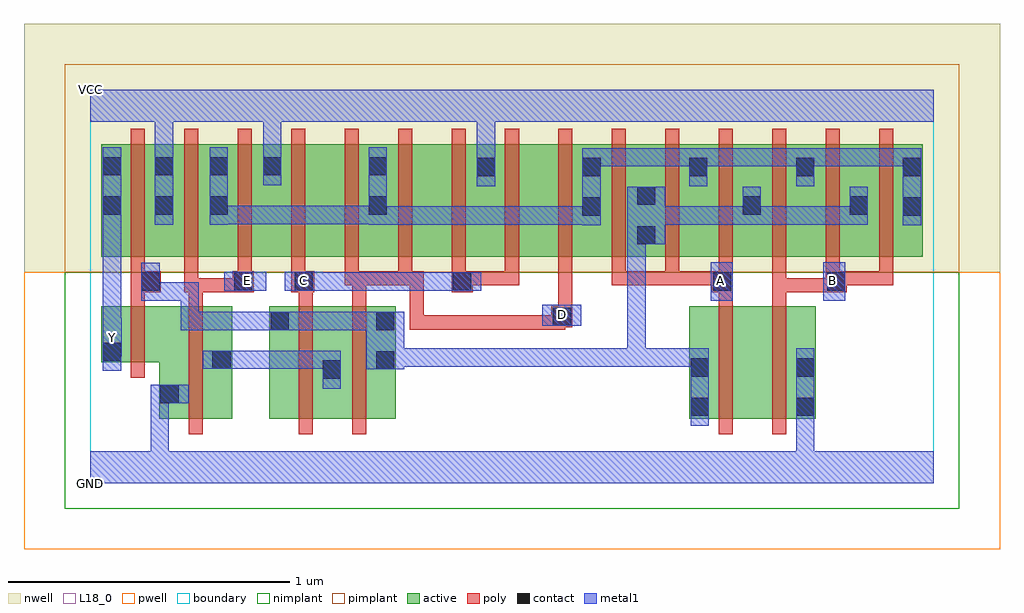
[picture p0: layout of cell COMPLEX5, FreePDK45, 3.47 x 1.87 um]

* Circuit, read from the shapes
.subckt COMPLEX5 A B C D E GND VCC Y
M1 GND n1 Y VSUBS nfet w=0.2u l=0.05u
M2 n2 E GND VSUBS nfet w=0.4u l=0.05u
M3 n2 C n1 VSUBS nfet w=0.4u l=0.05u
M4 n1 D n2 VSUBS nfet w=0.4u l=0.05u
M5 n3 A n1 VSUBS nfet w=0.4u l=0.05u
M6 GND B n3 VSUBS nfet w=0.4u l=0.05u
M7 VCC n1 Y n4 pfet w=0.4u l=0.05u
M8 n5 E VCC n4 pfet w=0.4u l=0.05u m=2
M9 n6 C VCC n4 pfet w=0.4u l=0.05u
M10 n5 D n6 n4 pfet w=0.4u l=0.05u
M11 n7 D n5 n4 pfet w=0.4u l=0.05u
M12 VCC C n7 n4 pfet w=0.4u l=0.05u
M13 n8 C VCC n4 pfet w=0.4u l=0.05u
M14 n5 D n8 n4 pfet w=0.4u l=0.05u
M15 n1 A n5 n4 pfet w=0.4u l=0.05u m=3
M16 n5 B n1 n4 pfet w=0.4u l=0.05u m=3
.ends

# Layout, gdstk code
import gdstk
lib = gdstk.Library(unit=1e-6, precision=1e-09)
def R(c, l, rs):  # rectangles x0, y0, x1, y1
    for r in rs: c.add(gdstk.rectangle(r[:2], r[2:], *l))
def A(c, l, x, y, w, h, nx, ny, dx, dy):  # array of equal rectangles
    R(c, l, [(x+i*dx, y+j*dy, x+i*dx+w, y+j*dy+h) for i in range(nx) for j in range(ny)])
active = (1, 0)
pwell = (2, 0)
nwell = (3, 0)
nimplant = (4, 0)
pimplant = (5, 0)
poly = (9, 0)
contact = (10, 0)
metal1 = (11, 0)
L18_0 = (18, 0)
boundary = (235, 0)

complex5 = lib.new_cell('COMPLEX5')
A(complex5, active, 1.745, 0.805, 0.075, 0.395, 4, 1, 0.38, 0)
A(complex5, active, 2.125, 0.805, 0.265, 0.4, 4, 1, 0.19, 0)
R(complex5, active, [(0.245,0.23,0.32,0.63), (0.245,0.23,0.505,0.63), (0.43,0.23,0.505,0.63), (0.637,0.23,0.897,0.63), (0.822,0.23,1.087,0.63), (2.13,0.23,2.205,0.63), (2.13,0.23,2.355,0.63), (2.355,0.23,2.58,0.63), (2.505,0.23,2.58,0.63), (0.637,0.295,0.712,0.63), (0.822,0.295,0.897,0.597), (1.012,0.295,1.087,0.63), (0.04,0.43,0.32,0.63), (0.04,0.43,0.115,0.63), (0.04,0.805,0.3,1.205), (0.04,0.805,0.115,1.2), (0.225,0.805,0.3,1.205), (0.225,0.805,0.495,1.205), (0.42,0.805,0.685,1.205), (0.42,0.805,0.495,1.2), (0.61,0.805,0.685,1.205), (0.61,0.805,0.835,1.205), (0.835,0.805,1.06,1.205), (0.985,0.805,1.06,1.2), (0.985,0.805,1.215,1.205), (1.215,0.805,1.445,1.205), (1.37,0.805,1.445,1.205), (1.37,0.805,1.595,1.205), (1.595,0.805,1.82,1.205), (1.745,0.805,2.015,1.205), (1.94,0.805,2.2,1.205), (1.94,0.805,2.015,1.07), (2.315,0.805,2.39,1.07), (2.695,0.805,2.77,1.07)])
R(complex5, pwell, [(-0.235,-0.235,3.235,0.75)])
R(complex5, nwell, [(-0.235,0.75,3.235,1.635)])
R(complex5, nimplant, [(-0.09,-0.09,3.09,0.75)])
R(complex5, pimplant, [(-0.09,0.75,3.09,1.49)])
A(complex5, poly, 0.525, 0.705, 0.05, 0.095, 6, 1, 0.19, 0)
A(complex5, poly, 1.855, 0.705, 0.05, 0.095, 3, 1, 0.19, 0)
A(complex5, poly, 0.145, 0.75, 0.05, 0.51, 15, 1, 0.19, 0)
R(complex5, poly, [(0.35,0.175,0.4,0.685), (0.742,0.175,0.792,0.685), (0.932,0.175,0.982,0.685), (2.235,0.175,2.285,0.685), (2.425,0.175,2.475,0.685), (0.145,0.375,0.195,0.685), (1.137,0.547,1.187,0.597), (1.137,0.547,1.187,0.597), (1.137,0.547,1.187,0.597), (1.137,0.547,1.392,0.597), (1.137,0.547,1.187,0.755), (1.342,0.547,1.557,0.597), (1.342,0.547,1.392,0.597), (1.342,0.547,1.392,0.597), (1.342,0.547,1.392,0.597), (1.507,0.547,1.557,0.597), (1.507,0.547,1.69,0.597), (1.64,0.547,1.69,0.597), (1.64,0.547,1.69,0.597), (1.64,0.547,1.69,0.597), (1.64,0.547,1.69,0.597), (1.64,0.547,1.69,0.605), (1.64,0.555,1.69,0.605), (1.64,0.555,1.715,0.63), (1.665,0.58,1.715,0.8), (0.145,0.635,0.195,0.73), (0.35,0.635,0.4,0.73), (0.742,0.635,0.792,0.73), (0.932,0.635,0.982,0.755), (2.235,0.635,2.285,0.73), (2.425,0.635,2.475,0.73), (0.145,0.68,0.252,0.755), (0.335,0.68,0.385,0.8), (0.335,0.68,0.4,0.73), (0.35,0.68,0.4,0.73), (0.35,0.68,0.4,0.73), (0.35,0.68,0.557,0.73), (0.507,0.68,0.582,0.755), (0.715,0.68,0.797,0.755), (1.285,0.68,1.36,0.755), (2.21,0.68,2.285,0.755), (2.425,0.68,2.475,0.73), (2.425,0.68,2.475,0.73), (2.425,0.68,2.475,0.73), (2.425,0.68,2.665,0.73), (2.425,0.68,2.475,0.8), (2.615,0.68,2.69,0.755), (0.145,0.705,0.195,0.8), (0.905,0.705,0.982,0.755), (0.932,0.705,0.982,0.755), (0.932,0.705,0.982,0.755), (0.932,0.705,1.145,0.755), (1.095,0.705,1.145,0.755), (1.095,0.705,1.145,0.755), (1.095,0.705,1.187,0.755), (1.31,0.705,1.525,0.755), (1.31,0.705,1.36,0.755), (1.31,0.705,1.36,0.755), (1.475,0.705,1.525,0.755), (1.855,0.705,1.905,0.755), (1.855,0.705,1.905,0.755), (1.855,0.705,1.905,0.755), (1.855,0.705,2.095,0.755), (2.045,0.705,2.26,0.755), (2.045,0.705,2.095,0.755), (2.045,0.705,2.095,0.755), (2.045,0.705,2.095,0.755), (2.615,0.705,2.665,0.8), (2.64,0.705,2.855,0.755), (2.64,0.705,2.69,0.755), (2.64,0.705,2.69,0.755), (2.805,0.705,2.855,0.8), (2.805,0.705,2.855,0.755)])
A(complex5, contact, 1.75, 1.092, 0.065, 0.065, 4, 1, 0.38, 0)
R(complex5, contact, [(2.135,0.24,2.2,0.305), (2.51,0.24,2.575,0.305), (0.25,0.285,0.315,0.35), (0.827,0.372,0.892,0.437), (2.135,0.38,2.2,0.445), (2.51,0.38,2.575,0.445), (1.017,0.405,1.082,0.47), (0.435,0.407,0.5,0.472), (0.045,0.435,0.11,0.5), (0.642,0.545,0.707,0.61), (1.017,0.545,1.082,0.61), (1.645,0.56,1.71,0.625), (0.182,0.685,0.247,0.75), (0.512,0.685,0.577,0.75), (0.727,0.685,0.792,0.75), (1.29,0.685,1.355,0.75), (2.215,0.685,2.28,0.75), (2.62,0.685,2.685,0.75), (1.945,0.85,2.01,0.915), (1.75,0.952,1.815,1.017), (2.89,0.952,2.955,1.017), (0.045,0.955,0.11,1.02), (0.23,0.955,0.295,1.02), (0.425,0.955,0.49,1.02), (0.99,0.955,1.055,1.02), (2.32,0.955,2.385,1.02), (2.7,0.955,2.765,1.02), (1.945,0.99,2.01,1.055), (1.375,1.092,1.44,1.157), (0.045,1.095,0.11,1.16), (0.23,1.095,0.295,1.16), (0.425,1.095,0.49,1.16), (0.615,1.095,0.68,1.16), (0.99,1.095,1.055,1.16)])
R(complex5, metal1, [(0,0,3,0.115), (0.215,0.05,0.28,0.115), (0.215,0.05,0.28,0.115), (0.215,0.05,0.28,0.35), (2.51,0.05,2.575,0.115), (2.51,0.05,2.575,0.115), (2.51,0.05,2.575,0.27), (2.135,0.205,2.2,0.48), (2.51,0.205,2.575,0.48), (0.215,0.285,0.35,0.35), (0.827,0.337,0.892,0.472), (0.045,0.4,0.11,0.535), (0.982,0.405,1.117,0.61), (0.4,0.407,0.535,0.472), (0.47,0.407,0.535,0.472), (0.47,0.407,0.535,0.472), (0.47,0.407,0.742,0.472), (0.677,0.407,0.742,0.472), (0.677,0.407,0.742,0.472), (0.677,0.407,0.742,0.472), (0.677,0.407,0.892,0.472), (1.052,0.415,1.165,0.48), (1.1,0.415,1.165,0.48), (1.1,0.415,1.302,0.48), (1.237,0.415,1.302,0.48), (1.237,0.415,1.302,0.48), (1.237,0.415,1.302,0.48), (1.237,0.415,1.44,0.48), (1.375,0.415,1.44,0.48), (1.375,0.415,1.44,0.48), (1.375,0.415,1.44,0.48), (1.375,0.415,1.577,0.48), (1.512,0.415,1.577,0.48), (1.512,0.415,1.577,0.48), (1.512,0.415,1.577,0.48), (1.512,0.415,1.715,0.48), (1.65,0.415,1.715,0.48), (1.65,0.415,1.715,0.48), (1.65,0.415,1.715,0.48), (1.65,0.415,1.975,0.48), (1.91,0.415,1.975,0.48), (1.91,0.415,1.975,0.48), (1.91,0.415,1.975,0.48), (1.91,0.415,1.975,0.48), (1.91,0.415,1.975,0.48), (1.91,0.415,2.2,0.48), (1.91,0.415,1.975,0.915), (0.045,0.452,0.112,0.587), (0.045,0.47,0.11,0.535), (0.045,0.522,0.11,0.985), (0.322,0.545,0.387,0.61), (0.322,0.545,0.525,0.61), (0.322,0.545,0.387,0.715), (0.46,0.545,0.525,0.61), (0.46,0.545,0.672,0.61), (0.607,0.545,0.742,0.61), (0.677,0.545,0.88,0.61), (0.815,0.545,0.88,0.61), (0.815,0.545,0.88,0.61), (0.815,0.545,0.88,0.61), (0.815,0.545,1.027,0.61), (0.962,0.545,1.027,0.61), (0.962,0.545,1.047,0.61), (1.607,0.56,1.747,0.635), (0.182,0.65,0.247,0.785), (0.182,0.65,0.25,0.715), (0.185,0.65,0.25,0.715), (0.185,0.65,0.387,0.715), (0.322,0.65,0.387,0.715), (0.322,0.65,0.387,0.715), (0.322,0.65,0.387,0.715), (2.207,0.65,2.285,0.787), (2.607,0.65,2.685,0.787), (0.477,0.685,0.627,0.752), (0.692,0.685,0.827,0.752), (0.762,0.685,0.88,0.75), (0.815,0.685,0.88,0.75), (0.815,0.685,1.027,0.75), (0.962,0.685,1.027,0.75), (0.962,0.685,1.027,0.75), (0.962,0.685,1.027,0.75), (0.962,0.685,1.165,0.75), (1.1,0.685,1.165,0.75), (1.1,0.685,1.255,0.75), (1.19,0.685,1.255,0.75), (1.19,0.685,1.32,0.75), (1.255,0.685,1.39,0.75), (1.91,0.85,2.045,1.055), (1.75,0.917,1.815,1.192), (2.89,0.917,2.955,1.192), (0.045,0.92,0.11,1.195), (0.23,0.92,0.295,1.195), (0.425,0.92,0.49,1.195), (0.99,0.92,1.055,1.195), (0.99,0.92,1.165,0.985), (1.1,0.92,1.165,0.985), (1.1,0.92,1.302,0.985), (1.237,0.92,1.302,0.985), (1.237,0.92,1.302,0.985), (1.237,0.92,1.302,0.985), (1.237,0.92,1.44,0.985), (1.375,0.92,1.44,0.985), (1.375,0.92,1.44,0.985), (1.375,0.92,1.44,0.985), (1.375,0.92,1.577,0.985), (1.512,0.92,1.577,0.985), (1.512,0.92,1.577,0.985), (1.512,0.92,1.577,0.985), (1.512,0.92,1.815,0.985), (1.98,0.92,2.045,0.985), (1.98,0.92,2.045,0.985), (1.98,0.92,2.2,0.985), (2.135,0.92,2.2,0.985), (2.135,0.92,2.2,0.985), (2.135,0.92,2.2,0.985), (2.135,0.92,2.385,0.985), (2.32,0.92,2.385,1.055), (2.32,0.92,2.522,0.985), (2.457,0.92,2.522,0.985), (2.457,0.92,2.522,0.985), (2.457,0.92,2.522,0.985), (2.457,0.92,2.765,0.985), (2.7,0.92,2.765,0.985), (2.7,0.92,2.765,0.985), (2.7,0.92,2.765,1.055), (0.425,0.922,0.525,0.987), (0.46,0.922,0.525,0.987), (0.46,0.922,0.742,0.987), (0.677,0.922,0.742,0.987), (0.677,0.922,0.88,0.987), (0.815,0.922,0.88,0.987), (0.815,0.922,0.88,0.987), (0.815,0.922,0.88,0.987), (0.815,0.922,1.027,0.987), (0.962,0.922,1.027,0.987), (0.962,0.922,1.055,0.987), (1.375,1.057,1.44,1.192), (2.13,1.057,2.195,1.192), (2.51,1.057,2.575,1.192), (0.615,1.06,0.68,1.195), (1.375,1.127,1.44,1.35), (1.75,1.127,1.815,1.192), (1.75,1.127,1.815,1.192), (1.75,1.127,1.815,1.192), (1.75,1.127,1.815,1.192), (1.75,1.127,2.057,1.192), (1.992,1.127,2.057,1.192), (1.992,1.127,2.057,1.192), (1.992,1.127,2.057,1.192), (1.992,1.127,2.195,1.192), (2.13,1.127,2.195,1.192), (2.13,1.127,2.195,1.192), (2.13,1.127,2.337,1.192), (2.272,1.127,2.337,1.192), (2.272,1.127,2.337,1.192), (2.272,1.127,2.337,1.192), (2.272,1.127,2.575,1.192), (2.51,1.127,2.817,1.192), (2.752,1.127,2.817,1.192), (2.752,1.127,2.817,1.192), (2.752,1.127,2.817,1.192), (2.752,1.127,2.955,1.192), (2.89,1.127,2.955,1.192), (2.89,1.127,2.955,1.192), (0.23,1.13,0.295,1.35), (0.615,1.13,0.68,1.35), (0,1.285,3,1.4)])
R(complex5, L18_0, [(0,0,3,0.115), (0.215,0.05,0.28,0.115), (0.215,0.05,0.28,0.115), (0.215,0.05,0.28,0.35), (2.51,0.05,2.575,0.115), (2.51,0.05,2.575,0.115), (2.51,0.05,2.575,0.27), (2.51,0.205,2.575,0.48), (0.215,0.285,0.35,0.35), (0.045,0.4,0.11,0.535), (0.045,0.452,0.112,0.587), (0.045,0.47,0.11,0.535), (0.047,0.487,0.112,0.552), (0.045,0.522,0.11,0.985), (1.607,0.56,1.747,0.635), (1.647,0.567,1.712,0.632), (2.207,0.65,2.285,0.787), (2.607,0.65,2.685,0.787), (0.477,0.685,0.627,0.752), (0.692,0.685,0.827,0.752), (0.762,0.685,0.88,0.75), (0.815,0.685,0.88,0.75), (0.815,0.685,1.027,0.75), (0.962,0.685,1.027,0.75), (0.962,0.685,1.027,0.75), (0.962,0.685,1.027,0.75), (0.962,0.685,1.165,0.75), (1.1,0.685,1.165,0.75), (1.1,0.685,1.255,0.75), (1.19,0.685,1.255,0.75), (1.19,0.685,1.32,0.75), (1.255,0.685,1.39,0.75), (0.527,0.687,0.592,0.752), (0.727,0.687,0.792,0.752), (2.207,0.687,2.272,0.752), (2.607,0.687,2.672,0.752), (0.045,0.92,0.11,1.195), (0.23,0.92,0.295,1.195), (1.375,1.057,1.44,1.192), (0.615,1.06,0.68,1.195), (1.375,1.127,1.44,1.35), (0.23,1.13,0.295,1.35), (0.615,1.13,0.68,1.35), (0,1.285,3,1.4)])
R(complex5, boundary, [(0,0,3,1.4)])
complex5.add(gdstk.Label('A', (2.24,0.72), layer=11, texttype=0))
complex5.add(gdstk.Label('B', (2.64,0.72), layer=11, texttype=0))
complex5.add(gdstk.Label('C', (0.76,0.72), layer=11, texttype=0))
complex5.add(gdstk.Label('D', (1.68,0.6), layer=11, texttype=0))
complex5.add(gdstk.Label('E', (0.56,0.72), layer=11, texttype=0))
complex5.add(gdstk.Label('Y', (0.08,0.52), layer=11, texttype=0))
complex5.add(gdstk.Label('VCC', (0,1.4), layer=11, texttype=0))
complex5.add(gdstk.Label('GND', (0,0), layer=11, texttype=0))

lib.write_gds('COMPLEX5.gds')
